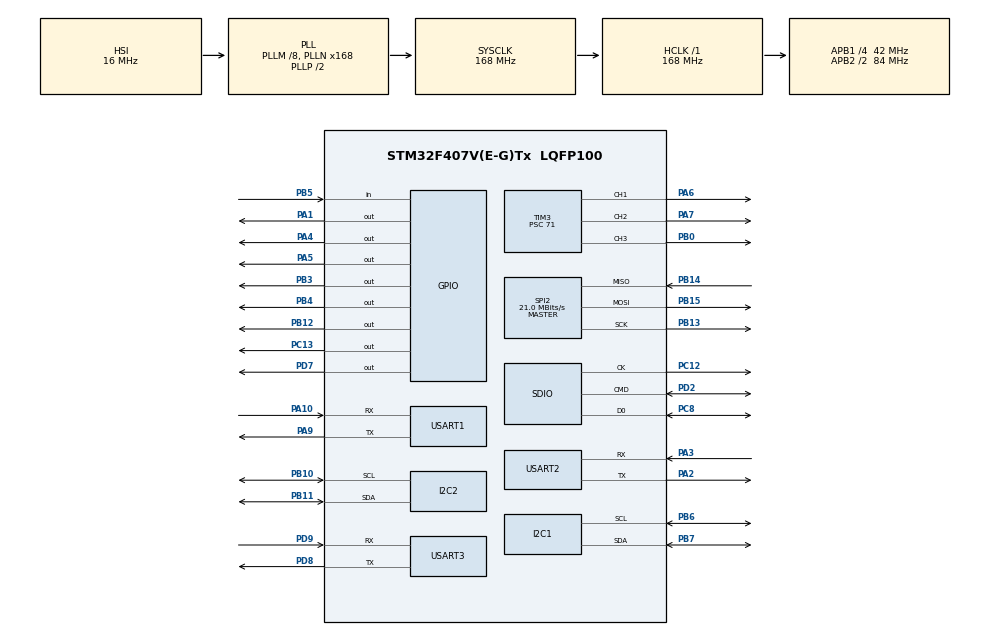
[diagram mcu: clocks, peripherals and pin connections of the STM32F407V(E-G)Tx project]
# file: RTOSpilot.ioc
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Dma.Request0=SDIO_RX
Dma.Request1=SDIO_TX
Dma.Request2=USART3_RX
Dma.Request3=USART1_TX
Dma.SDIO_RX.0.Direction=DMA_PERIPH_TO_MEMORY
Dma.SDIO_RX.0.FIFOMode=DMA_FIFOMODE_ENABLE
Dma.SDIO_RX.0.FIFOThreshold=DMA_FIFO_THRESHOLD_FULL
Dma.SDIO_RX.0.Instance=DMA2_Stream3
Dma.SDIO_RX.0.MemBurst=DMA_MBURST_INC4
Dma.SDIO_RX.0.MemDataAlignment=DMA_MDATAALIGN_WORD
Dma.SDIO_RX.0.MemInc=DMA_MINC_ENABLE
Dma.SDIO_RX.0.Mode=DMA_PFCTRL
Dma.SDIO_RX.0.PeriphBurst=DMA_PBURST_INC4
Dma.SDIO_RX.0.PeriphDataAlignment=DMA_PDATAALIGN_WORD
Dma.SDIO_RX.0.PeriphInc=DMA_PINC_DISABLE
Dma.SDIO_RX.0.Priority=DMA_PRIORITY_LOW
Dma.SDIO_TX.1.Direction=DMA_MEMORY_TO_PERIPH
Dma.SDIO_TX.1.FIFOMode=DMA_FIFOMODE_ENABLE
Dma.SDIO_TX.1.FIFOThreshold=DMA_FIFO_THRESHOLD_FULL
Dma.SDIO_TX.1.Instance=DMA2_Stream6
Dma.SDIO_TX.1.MemBurst=DMA_MBURST_INC4
Dma.SDIO_TX.1.MemDataAlignment=DMA_MDATAALIGN_WORD
Dma.SDIO_TX.1.MemInc=DMA_MINC_ENABLE
Dma.SDIO_TX.1.Mode=DMA_PFCTRL
Dma.SDIO_TX.1.PeriphBurst=DMA_PBURST_INC4
Dma.SDIO_TX.1.PeriphDataAlignment=DMA_PDATAALIGN_WORD
Dma.SDIO_TX.1.PeriphInc=DMA_PINC_DISABLE
Dma.SDIO_TX.1.Priority=DMA_PRIORITY_LOW
Dma.USART1_TX.3.Direction=DMA_MEMORY_TO_PERIPH
Dma.USART1_TX.3.FIFOMode=DMA_FIFOMODE_DISABLE
Dma.USART1_TX.3.Instance=DMA2_Stream7
Dma.USART1_TX.3.MemDataAlignment=DMA_MDATAALIGN_BYTE
Dma.USART1_TX.3.MemInc=DMA_MINC_ENABLE
Dma.USART1_TX.3.Mode=DMA_NORMAL
Dma.USART1_TX.3.PeriphDataAlignment=DMA_PDATAALIGN_BYTE
Dma.USART1_TX.3.PeriphInc=DMA_PINC_DISABLE
Dma.USART1_TX.3.Priority=DMA_PRIORITY_LOW
Dma.USART3_RX.2.Direction=DMA_PERIPH_TO_MEMORY
Dma.USART3_RX.2.FIFOMode=DMA_FIFOMODE_DISABLE
Dma.USART3_RX.2.Instance=DMA1_Stream1
Dma.USART3_RX.2.MemDataAlignment=DMA_MDATAALIGN_BYTE
Dma.USART3_RX.2.MemInc=DMA_MINC_ENABLE
Dma.USART3_RX.2.Mode=DMA_NORMAL
Dma.USART3_RX.2.PeriphDataAlignment=DMA_PDATAALIGN_BYTE
Dma.USART3_RX.2.PeriphInc=DMA_PINC_DISABLE
Dma.USART3_RX.2.Priority=DMA_PRIORITY_LOW
FATFS.BSP.number=1
FATFS.USE_DMA_CODE_SD=1
FATFS._USE_LFN=2
FATFS0.BSP.STBoard=false
FATFS0.BSP.api=Unknown
FATFS0.BSP.i2caddr=0
FATFS0.BSP.instance=PB5
FATFS0.BSP.ip=GPIO
FATFS0.BSP.mode=Input
FATFS0.BSP.name=Detect_SDIO
FATFS0.BSP.solution=PB5
FREERTOS.INCLUDE_uxTaskGetStackHighWaterMark=1
FREERTOS.INCLUDE_vTaskDelayUntil=1
FREERTOS.MEMORY_ALLOCATION=0
FREERTOS.Tasks01=task1,-2,1024,blackbox_task,Default,NULL,Dynamic,NULL,NULL;task2,2,1024,ahrs_task,Default,NULL,Dynamic,NULL,NULL;task3,3,512,sensor_task,Default,NULL,Dynamic,NULL,NULL;task4,-2,512,osd_task,Default,NULL,Dynamic,NULL,NULL
FREERTOS.configTOTAL_HEAP_SIZE=15360
FREERTOS.configUSE_NEWLIB_REENTRANT=1
I2C1.I2C_Mode=I2C_Fast
I2C2.I2C_Mode=I2C_Fast
Mcu.Family=STM32F4
Mcu.Name=STM32F407V(E-G)Tx
Mcu.Package=LQFP100
NVIC.DMA1_Stream1_IRQn=true\:5\:0\:false\:false\:true\:true\:false\:true
NVIC.DMA2_Stream3_IRQn=true\:11\:0\:true\:false\:true\:true\:false\:true
NVIC.DMA2_Stream6_IRQn=true\:11\:0\:true\:false\:true\:true\:false\:true
NVIC.DMA2_Stream7_IRQn=true\:5\:0\:false\:false\:true\:true\:false\:true
NVIC.PriorityGroup=NVIC_PRIORITYGROUP_4
NVIC.SDIO_IRQn=true\:11\:0\:true\:false\:true\:true\:true\:true
NVIC.TIM2_IRQn=true\:15\:0\:false\:false\:true\:false\:false\:true
NVIC.TIM4_IRQn=true\:5\:0\:false\:false\:true\:true\:true\:true
NVIC.TimeBase=TIM2_IRQn
NVIC.TimeBaseIP=TIM2
NVIC.USART1_IRQn=true\:5\:0\:false\:false\:true\:true\:true\:true
NVIC.USART2_IRQn=true\:10\:0\:true\:false\:true\:true\:true\:true
NVIC.USART3_IRQn=true\:10\:0\:true\:false\:true\:true\:true\:true
PA1.GPIO_PuPd=GPIO_PULLDOWN
PA1.Signal=GPIO_Output
PA10.Mode=Asynchronous
PA10.Signal=USART1_RX
PA13.Mode=Serial_Wire
PA13.Signal=SYS_JTMS-SWDIO
PA14.Mode=Serial_Wire
PA14.Signal=SYS_JTCK-SWCLK
PA2.Mode=Asynchronous
PA2.Signal=USART2_TX
PA3.Mode=Asynchronous
PA3.Signal=USART2_RX
PA4.Signal=GPIO_Output
PA5.Signal=GPIO_Output
PA6.Signal=S_TIM3_CH1
PA7.Signal=S_TIM3_CH2
PA9.Mode=Asynchronous
PA9.Signal=USART1_TX
PB0.Signal=S_TIM3_CH3
PB10.Mode=I2C
PB10.Signal=I2C2_SCL
PB11.Mode=I2C
PB11.Signal=I2C2_SDA
PB12.Signal=GPIO_Output
PB13.Mode=Full_Duplex_Master
PB13.Signal=SPI2_SCK
PB14.Mode=Full_Duplex_Master
PB14.Signal=SPI2_MISO
PB15.Mode=Full_Duplex_Master
PB15.Signal=SPI2_MOSI
PB3.Signal=GPIO_Output
PB4.Signal=GPIO_Output
PB5.GPIO_PuPd=GPIO_PULLDOWN
PB5.Signal=GPIO_Input
PB6.Mode=I2C
PB6.Signal=I2C1_SCL
PB7.Mode=I2C
PB7.Signal=I2C1_SDA
PC12.Mode=SD_1_bit
PC12.Signal=SDIO_CK
PC13-ANTI_TAMP.Signal=GPIO_Output
PC8.Mode=SD_1_bit
PC8.Signal=SDIO_D0
PD2.Mode=SD_1_bit
PD2.Signal=SDIO_CMD
PD7.Signal=GPIO_Output
PD8.Mode=Asynchronous
PD8.Signal=USART3_TX
PD9.Mode=Asynchronous
PD9.Signal=USART3_RX
PH0-OSC_IN.Mode=HSE-External-Oscillator
PH0-OSC_IN.Signal=RCC_OSC_IN
PH1-OSC_OUT.Mode=HSE-External-Oscillator
PH1-OSC_OUT.Signal=RCC_OSC_OUT
ProjectManager.HeapSize=0x1000
ProjectManager.StackSize=0x2000
ProjectManager.TargetToolchain=STM32CubeIDE
RCC.48MHZClocksFreq_Value=48000000
RCC.AHBFreq_Value=168000000
RCC.APB1CLKDivider=RCC_HCLK_DIV4
RCC.APB1Freq_Value=42000000
RCC.APB1TimFreq_Value=84000000
RCC.APB2CLKDivider=RCC_HCLK_DIV2
RCC.APB2Freq_Value=84000000
RCC.APB2TimFreq_Value=168000000
RCC.CortexFreq_Value=168000000
RCC.HCLKFreq_Value=168000000
RCC.HSE_VALUE=25000000
RCC.HSI_VALUE=16000000
RCC.LSE_VALUE=32768
RCC.PLLM=8
RCC.PLLN=168
RCC.PLLQ=7
RCC.SYSCLKFreq_VALUE=168000000
RCC.SYSCLKSource=RCC_SYSCLKSOURCE_PLLCLK
RCC.VCOOutputFreq_Value=336000000
SDIO.ClockDiv=10
SH.S_TIM3_CH1.0=TIM3_CH1,PWM Generation1 CH1
SH.S_TIM3_CH2.0=TIM3_CH2,PWM Generation2 CH2
SH.S_TIM3_CH3.0=TIM3_CH3,PWM Generation3 CH3
SPI2.CalculateBaudRate=21.0 MBits/s
SPI2.Direction=SPI_DIRECTION_2LINES
SPI2.Mode=SPI_MODE_MASTER
SPI2.VirtualType=VM_MASTER
TIM3.Channel-PWM\ Generation1\ CH1=TIM_CHANNEL_1
TIM3.Channel-PWM\ Generation2\ CH2=TIM_CHANNEL_2
TIM3.Channel-PWM\ Generation3\ CH3=TIM_CHANNEL_3
TIM3.Prescaler=71
TIM4.AutoReloadPreload=TIM_AUTORELOAD_PRELOAD_ENABLE
TIM4.Prescaler=71
USART1.VirtualMode=VM_ASYNC
USART2.VirtualMode=VM_ASYNC
USART3.VirtualMode=VM_ASYNC
VP_FATFS_VS_SDIO.Mode=SDIO
VP_FREERTOS_VS_CMSIS_V1.Mode=CMSIS_V1
VP_SYS_VS_tim2.Mode=TIM2
VP_TIM3_VS_ClockSourceINT.Mode=Internal
VP_TIM4_VS_ClockSourceINT.Mode=Internal
board=custom

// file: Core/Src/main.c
/* USER CODE BEGIN Header */
/**
  ******************************************************************************
  * @file           : main.c
  * @brief          : Main program body
  ******************************************************************************
  * @attention
  *
  * Copyright (c) 2024 STMicroelectronics.
  * All rights reserved.
  *
  * This software is licensed under terms that can be found in the LICENSE file
  * in the root directory of this software component.
  * If no LICENSE file comes with this software, it is provided AS-IS.
  *
  ******************************************************************************
  */
/* USER CODE END Header */
#include "main.h"
#include "cmsis_os.h"
#include "dma.h"
#include "fatfs.h"
#include "i2c.h"
#include "sdio.h"
#include "spi.h"
#include "tim.h"
#include "usart.h"
#include "gpio.h"

/* USER CODE BEGIN Includes */
#include "../Lib/timer.h"
/* USER CODE END Includes */

void SystemClock_Config(void);
void MX_FREERTOS_Init(void);

int main(void)
{

  /* MCU Configuration--------------------------------------------------------*/

  /* Reset of all peripherals, Initializes the Flash interface and the Systick. */
  HAL_Init();

  /* Configure the system clock */
  SystemClock_Config();

  /* Initialize all configured peripherals */
  MX_GPIO_Init();
  MX_DMA_Init();
  MX_I2C1_Init();
  MX_I2C2_Init();
  MX_SDIO_SD_Init();
  MX_TIM3_Init();
  MX_TIM4_Init();
  MX_USART1_UART_Init();
  MX_USART2_UART_Init();
  MX_USART3_UART_Init();
  MX_FATFS_Init();
  MX_SPI2_Init();

  /* Call init function for freertos objects (in freertos.c) */
  MX_FREERTOS_Init();
  /* Start scheduler */
  osKernelStart();

  /* We should never get here as control is now taken by the scheduler */
  /* Infinite loop */
  while (1)
  {

  }
}

void SystemClock_Config(void)
{
  RCC_OscInitTypeDef RCC_OscInitStruct = {0};
  RCC_ClkInitTypeDef RCC_ClkInitStruct = {0};

  /** Configure the main internal regulator output voltage
  */
  __HAL_RCC_PWR_CLK_ENABLE();
  __HAL_PWR_VOLTAGESCALING_CONFIG(PWR_REGULATOR_VOLTAGE_SCALE1);
  /** Initializes the RCC Oscillators according to the specified parameters
  * in the RCC_OscInitTypeDef structure.
  */
  RCC_OscInitStruct.OscillatorType = RCC_OSCILLATORTYPE_HSI;
  RCC_OscInitStruct.HSIState = RCC_HSI_ON;
  RCC_OscInitStruct.HSICalibrationValue = RCC_HSICALIBRATION_DEFAULT;
  RCC_OscInitStruct.PLL.PLLState = RCC_PLL_ON;
  RCC_OscInitStruct.PLL.PLLSource = RCC_PLLSOURCE_HSI;
  RCC_OscInitStruct.PLL.PLLM = 8;
  RCC_OscInitStruct.PLL.PLLN = 168;
  RCC_OscInitStruct.PLL.PLLP = RCC_PLLP_DIV2;
  RCC_OscInitStruct.PLL.PLLQ = 7;
  if (HAL_RCC_OscConfig(&RCC_OscInitStruct) != HAL_OK)
  {
    Error_Handler();
  }
  /** Initializes the CPU, AHB and APB buses clocks
  */
  RCC_ClkInitStruct.ClockType = RCC_CLOCKTYPE_HCLK|RCC_CLOCKTYPE_SYSCLK
                              |RCC_CLOCKTYPE_PCLK1|RCC_CLOCKTYPE_PCLK2;
  RCC_ClkInitStruct.SYSCLKSource = RCC_SYSCLKSOURCE_PLLCLK;
  RCC_ClkInitStruct.AHBCLKDivider = RCC_SYSCLK_DIV1;
  RCC_ClkInitStruct.APB1CLKDivider = RCC_HCLK_DIV4;
  RCC_ClkInitStruct.APB2CLKDivider = RCC_HCLK_DIV2;

  if (HAL_RCC_ClockConfig(&RCC_ClkInitStruct, FLASH_LATENCY_5) != HAL_OK)
  {
    Error_Handler();
  }
}

void HAL_TIM_PeriodElapsedCallback(TIM_HandleTypeDef *htim)
{
  if (htim->Instance == TIM2) {
    HAL_IncTick();
  }
  /* USER CODE BEGIN Callback 1 */
	if(htim == &htim4)
	{
		TIMER_CALLBACK();
	}
  /* USER CODE END Callback 1 */
}

void Error_Handler(void)
{
  __disable_irq();
  while (1)
  {
  }
}

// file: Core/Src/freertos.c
/* USER CODE BEGIN Header */
/**
  ******************************************************************************
  * File Name          : freertos.c
  * Description        : Code for freertos applications
  ******************************************************************************
  * @attention
  *
  * Copyright (c) 2024 STMicroelectronics.
  * All rights reserved.
  *
  * This software is licensed under terms that can be found in the LICENSE file
  * in the root directory of this software component.
  * If no LICENSE file comes with this software, it is provided AS-IS.
  *
  ******************************************************************************
  */
/* USER CODE END Header */

#include "FreeRTOS.h"
#include "task.h"
#include "main.h"
#include "cmsis_os.h"

/* USER CODE BEGIN Includes */
#include "stdlib.h"
#include "usart.h"
#include "tim.h"
#include "i2c.h"
#include "stdio.h"

#include "../Lib/timer.h"
#include "../Lib/gps.h"
#include "../Lib/imu.h"
#include "../Lib/sensordetect.h"
#include "../Lib/compass.h"
#include "../Lib/pwm.h"
#include "../Lib/maths.h"
#include "../Lib/blackbox.h"
#include "../Lib/baro.h"
#include "../Lib/timer.h"

#include "../Driver/ibus.h"
#include "../Driver/mpu6050.h"
#include "../Driver/interrupt.h"
#include "../Driver/ms5611.h"
#include "../Driver/bmp280.h"

#include "../flight/plane.h"

#include "../HIL/dynamic_mode.h"
/* USER CODE END Includes */

/* USER CODE BEGIN PD */
int __io_putchar(int ch) {
    ITM_SendChar(ch);
    return ch;
}
/* USER CODE END PD */

osThreadId task1Handle;
osThreadId task2Handle;
osThreadId task3Handle;
osThreadId task4Handle;

void blackbox_task(void const * argument);
void ahrs_task(void const * argument);
void sensor_task(void const * argument);
void osd_task(void const * argument);

void MX_FREERTOS_Init(void); /* (MISRA C 2004 rule 8.1) */

void MX_FREERTOS_Init(void) {
  /* USER CODE BEGIN Init */
	timer_start(&htim4);
  /* USER CODE END Init */

  /* Create the thread(s) */
  /* definition and creation of task1 */
  osThreadDef(task1, blackbox_task, osPriorityLow, 0, 1024);
  task1Handle = osThreadCreate(osThread(task1), NULL);

  /* definition and creation of task2 */
  osThreadDef(task2, ahrs_task, osPriorityHigh, 0, 1024);
  task2Handle = osThreadCreate(osThread(task2), NULL);

  /* definition and creation of task3 */
  osThreadDef(task3, sensor_task, osPriorityRealtime, 0, 512);
  task3Handle = osThreadCreate(osThread(task3), NULL);

  /* definition and creation of task4 */
  osThreadDef(task4, osd_task, osPriorityLow, 0, 512);
  task4Handle = osThreadCreate(osThread(task4), NULL);

}

/* USER CODE BEGIN Header_blackbox_task */
#define STACK_DEBUG
#ifdef STACK_DEBUG
uint16_t stack_task_ahrs;
uint16_t stack_task_sensor;
uint16_t stack_task_mavOSD;
uint16_t stack_task_blackbox;
#endif
/***************************/

extern float roll_desired;
extern float pitch_desired;
extern float ab_speed_filted;

extern float pid_roll_velo_scaler;
extern float pid_pitch_velo_scaler;

extern int32_t puts_state;
extern uint16_t servoL,servoR;
uint32_t sdcard_fsize;
uint8_t black_box_reset;
extern int32_t baro_alt;
extern int32_t baro_climb;

extern float velocity_test;
extern float position_test;
/**
  * @brief  Function implementing the task1 thread.
  * @param  argument: Not used
  * @retval None
  */
/* USER CODE END Header_blackbox_task */
void blackbox_task(void const * argument)
{
  /* USER CODE BEGIN blackbox_task */
  /* Infinite loop */
	//vTaskSuspend(NULL);
		black_box_init();
		black_box_reset = TRUE;
		TickType_t xLastWakeTime;
		const TickType_t xFrequency = 100;  //
		xLastWakeTime = xTaskGetTickCount();
	  /* Infinite loop */
	  for(;;)
	  {
			static uint32_t start_time_ms;
			if(black_box_reset){
				black_box_pack_str("----------------------------new data----------------------------------------------------------------\n");
				black_box_reset = FALSE;
				start_time_ms = millis();
			}
			uint32_t time_ms =  millis() - start_time_ms;
			// control thortle 0 -> 100%
			int throtle = ((int)ibusChannelData[CH3] - 1000)*0.1;

			// tx signal 0 -> 100 %
			//int srri = ((int)ibusChannelData[CH11] - 1000)*0.1;

			/*** write time  ***/
			black_box_pack_int(time_ms);
			black_box_pack_char(' ');

			/*---- control parameters ---*/
			black_box_pack_int((int)servoL);
			black_box_pack_char(' ');
			black_box_pack_int((int)servoR);
			black_box_pack_char(' ');
			black_box_pack_int(throtle);
			black_box_pack_char(' ');
#ifndef HIL
			black_box_pack_int(srri);
			black_box_pack_char(' ');
#endif
			/*----- attitude ---------------------*/
			black_box_pack_int((int)(AHRS.roll*100));
			black_box_pack_char(' ');
			black_box_pack_int((int)(roll_desired*100));
			black_box_pack_char(' ');
			black_box_pack_int((int)(AHRS.p*100));
			black_box_pack_char(' ');
			black_box_pack_int((int)(AHRS.roll_rate*100));
			black_box_pack_char(' ');

			black_box_pack_int((int)(AHRS.pitch*100));// cm
			black_box_pack_char(' ');
			black_box_pack_int((int)(pitch_desired*100));
			black_box_pack_char(' ');
			black_box_pack_int((int)(AHRS.q*100));
			black_box_pack_char(' ');
			black_box_pack_int((int)(AHRS.pitch_rate*100));
			black_box_pack_char(' ');

			black_box_pack_int((int)(AHRS.yaw*100));
			black_box_pack_char(' ');
			black_box_pack_int((int)(AHRS.r*100));
			black_box_pack_char(' ');
			black_box_pack_int((int)(AHRS.yaw_rate*100));
			black_box_pack_char(' ');

			/*------- GPS ----------------------*/
#ifndef HIL
			int16_t vx = _gps.velocity[0];  // cm/s
			int16_t vy = _gps.velocity[1];  // cm/s
			int16_t vz = _gps.velocity[2];  // cm/s
			int32_t ground_speed = sqrt(sq(vx) + sq(vy)) ;

			black_box_pack_int(_gps.position[0]);
			black_box_pack_char(' ');
			black_box_pack_int(_gps.position[1]);
			black_box_pack_char(' ');
			black_box_pack_int(_gps.altitude_msl);
			black_box_pack_char(' ');
			black_box_pack_int(_gps.altitude_mgl);
			black_box_pack_char(' ');
			//black_box_pack_int(_gps.numSat);
			//lack_box_pack_char(' ');
			black_box_pack_int(_gps.fix);
			black_box_pack_char(' ');
			black_box_pack_int(ground_speed);
			black_box_pack_char(' ');
			black_box_pack_int((int)(pid_roll_velo_scaler*100));
			black_box_pack_char(' ');
			black_box_pack_int((int)(pid_pitch_velo_scaler*100));
			black_box_pack_char(' ');
			black_box_pack_int(vz);
			black_box_pack_char(' ');
			black_box_pack_int(baro_climb);   // cm
			black_box_pack_char(' ');
			black_box_pack_int(baro_alt);   // cm
#endif

			/*----- end line && load data to sd card- -----*/
			//sdcard_fsize = black_box_get_file_size();
			black_box_pack_char('\n');
			black_box_load();
            // if write ok
			if(puts_state != -1){
				HAL_GPIO_TogglePin(GPIOA, GPIO_PIN_4);
			}
		vTaskDelayUntil( &xLastWakeTime, xFrequency);
#ifdef STACK_DEBUG
	    stack_task_blackbox = uxTaskGetStackHighWaterMark( NULL );
#endif
	  }
  /* USER CODE END blackbox_task */
}

/* USER CODE BEGIN Header_ahrs_task */
#ifndef HIL
int16_t gyro_imu[3];
int16_t acc_imu[3];
int16_t mag_raw[3];
#endif

int *k;
uint32_t ff;
int kj[10];
/**
* @brief Function implementing the task2 thread.
* @param argument: Not used
* @retval None
*/
/* USER CODE END Header_ahrs_task */
void ahrs_task(void const * argument)
{
  /* USER CODE BEGIN ahrs_task */
  /* Infinite loop */
	//vTaskSuspend(NULL);
	attitude_ctrl_init();
#ifndef HIL
	initPWM(&htim3);
	compassInit();
	gps_init(&huart3,38400);
	baro_init();
#endif
	mavlinkInit(1,1,&huart1,115200);
	ibus_init(&huart2);

	TickType_t xLastWakeTime;
	const TickType_t xFrequency = 10; // 100 hz loop
	xLastWakeTime = xTaskGetTickCount();
  /* Infinite loop */
  for(;;)
  {
#ifndef HIL
	//HAL_GPIO_TogglePin(GPIOB, GPIO_PIN_4); // for debugging
	//timer_calculate_boottime();
	if(is_baro_calibration() == FALSE){
		baro_zero_calibrate();
	}else{
		baro_update(0.01);
	}
	// get rc channel
	ibusFrameComplete();
	// gps
	gps_readout();
	update_ahrs(gyro_imu[0],gyro_imu[1],gyro_imu[2],acc_imu[0],acc_imu[1],acc_imu[2],mag_raw[0],mag_raw[1],mag_raw[2],0.01);
	attitude_ctrl_start(0.01);
#endif
	ibusFrameComplete();
    // start dynamic mode
	uint16_t thrust = ibusChannelData[CH3];
	uint16_t servoLL = ibusChannelData[CH2];
	uint16_t servoRR = ibusChannelData[CH1];
	dynamic_control(thrust,servoLL,servoRR);
	dynamic_loop(0.01);
    uint32_t *k = (uint32_t*)0x20021000;
    *k +=1;
    if(k){

    }
/*
	if(ibusChannelData[CH10] > CHANNEL_HIGH && ibusChannelData[CH5] < CHANNEL_HIGH){
		static uint32_t tim_;
		if(millis() - tim_ > 200){
            //HAL_GPIO_WritePin(GPIOA, GPIO_PIN_1, 1);
			HAL_GPIO_TogglePin(GPIOA, GPIO_PIN_1);

			tim_ = millis();
		}
	}else{
		HAL_GPIO_WritePin(GPIOA, GPIO_PIN_1,0);
	}
*/

	static uint32_t gps_tim_ms;
	if(millis() - gps_tim_ms > 200){
	   if(_gps.fix > 1){
		HAL_GPIO_TogglePin(GPIOA, GPIO_PIN_5);
	   }
	   gps_tim_ms = millis();
	}

	if(ibusChannelData[CH6] < CHANNEL_HIGH ){
		vTaskSuspend(task1Handle);
		black_box_reset = TRUE;
	}
	else{
		vTaskResume(task1Handle);
	}

	//HAL_GPIO_TogglePin(GPIOB, GPIO_PIN_4);
	vTaskDelayUntil( &xLastWakeTime, xFrequency );
#ifdef STACK_DEBUG
	stack_task_ahrs = uxTaskGetStackHighWaterMark( NULL );
#endif
    }
  /* USER CODE END ahrs_task */
}

void sensor_task(void const * argument)
{
  /* USER CODE BEGIN sensor_task */
  /* Infinite loop */
	//vTaskSuspend(NULL);
#ifdef HIL
	vTaskSuspend(NULL);
#else
	int16_t gyso_offset[3] = {0,0,0};
	axis3_t raw;
	uint8_t sample_count = 0;
	int32_t gyro_add[3] = {0,0,0};
	uint8_t first_loop = 1;
	compassInit();
	mpu6050_init(&hi2c2);
	//i2cDectect(&hi2c2);
	HAL_Delay(2000);
	imu_calibrate(&gyso_offset[0],&gyso_offset[1],&gyso_offset[2]);
#endif
	TickType_t xLastWakeTime;
	const TickType_t xFrequency = 2;
	xLastWakeTime = xTaskGetTickCount();

	for(;;)
	{

#ifndef HIL
		mpu6050_gyro_get_raw(&raw);
		gyro_add[0] += (raw.x - gyso_offset[0]);
		gyro_add[1] += (raw.y - gyso_offset[1]);
		gyro_add[2] += (raw.z - gyso_offset[2]);
		sample_count ++;

		if(sample_count >= 5){
		   axis3_t mag;
		   compass_get(&mag);
		   mag_raw[0] = mag.x;
		   mag_raw[1] = mag.y;
		   mag_raw[2] = mag.z;

		   gyro_imu[0] = (int16_t)(gyro_add[0]/5);
		   gyro_imu[1] = (int16_t)(gyro_add[1]/5);
		   gyro_imu[2] = (int16_t)(gyro_add[2]/5);
		   gyro_add[0] = 0;
		   gyro_add[1] = 0;
		   gyro_add[2] = 0;
		   sample_count = 0;
		}

		raw.x = 0;
		raw.y = 0;
		raw.z = 0;

		mpu6050_acc_get_raw(&raw);
		if(first_loop){
			acc_imu[0] = raw.x;
			acc_imu[1] = raw.y;
			acc_imu[2] = raw.z;
			first_loop = 0;
		}
		// low pass filter
		acc_imu[0] += 0.1*(raw.x - acc_imu[0]);
		acc_imu[1] += 0.1*(raw.y - acc_imu[1]);
		acc_imu[2] += 0.1*(raw.z - acc_imu[2]);
#endif
		//HAL_GPIO_TogglePin(GPIOB, GPIO_PIN_3);
#ifdef STACK_DEBUG
		stack_task_sensor = uxTaskGetStackHighWaterMark( NULL );
#endif
		vTaskDelayUntil( &xLastWakeTime, xFrequency );

	}
  /* USER CODE END sensor_task */
}

void osd_task(void const * argument)
{
  /* USER CODE BEGIN osd_task */
  /* Infinite loop */
  for(;;)
  {
	//HAL_GPIO_TogglePin(GPIOB, GPIO_PIN_4); // for debug
	HAL_GPIO_TogglePin(GPIOC, GPIO_PIN_13);
	osDelay(1000);
#ifdef STACK_DEBUG
	stack_task_mavOSD = uxTaskGetStackHighWaterMark( NULL );
#endif
    }
  /* USER CODE END osd_task */
}
